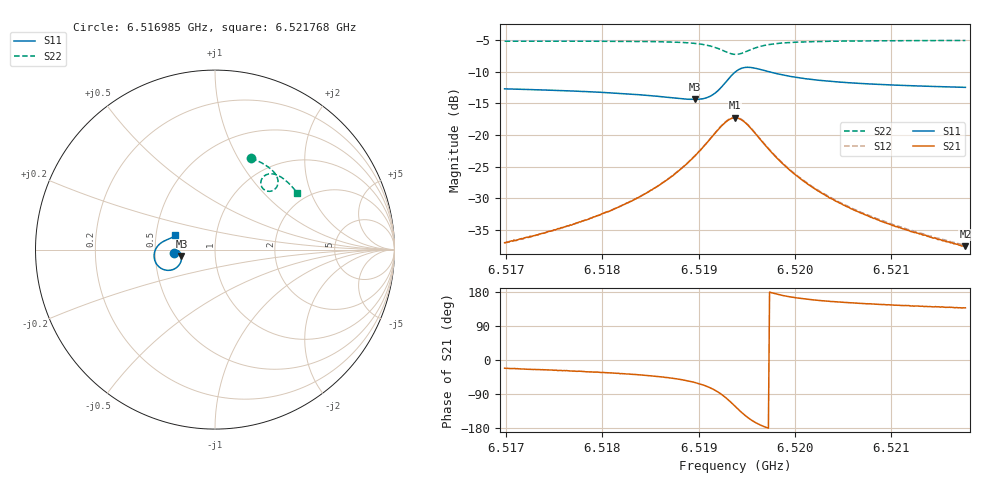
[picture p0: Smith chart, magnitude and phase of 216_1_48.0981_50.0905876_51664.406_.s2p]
#  HZ  S  RI  R  50.00
! Rohde & Schwarz Vector Network Analyzer
! Rohde-Schwarz,ZNB20-2Port,1311601062101988,3.16
! Created: UTC 12/23/2023, 3:56:16 AM
! freq[Hz]  re:S11  im:S11  re:S21  im:S21  re:S12  im:S12  re:S22  im:S22
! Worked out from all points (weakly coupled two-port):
!   401 points, 6.516985 GHz to 6.521768 GHz, reference 50 ohm
!   highest |S21| = -17.29 dB at 6.519376 GHz (marker M1); lowest = -37.5 dB at 6.521768 GHz (marker M2)
!   lowest |S11| = -14.4 dB at 6.518958 GHz (marker M3), VSWR 1.47, Z = 34.2 - j2.52 ohm
!   |S11| at or under -10 dB: start of sweep to 6.519385 GHz; 6.519722 GHz to end of sweep
!   |S22| runs from -7.3 to -5.1 dB; largest |S21 - S12| = 0.0042
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6.5169852e9  -0.2303 -0.0174  0.0131 -0.0052  0.0132 -0.00474  0.2022 0.5098
6.5173917e9  -0.2259 -0.0115  0.0151 -0.00731  0.0154 -0.0068  0.2321 0.4971
6.5177862e9  -0.2202 -0.00678  0.0181 -0.0105  0.0184 -0.00986  0.2614 0.4825
6.5181688e9  -0.213 -0.00475  0.0221 -0.0155  0.0225 -0.0151  0.29 0.465
6.5185873e9  -0.2009 -0.00924  0.0288 -0.0278  0.0298 -0.0269  0.3221 0.4383
6.5187905e9  -0.1932 -0.0186  0.0331 -0.0402  0.0345 -0.0394  0.3378 0.419
6.5189579e9  -0.1871 -0.0355  0.0347 -0.0584  0.0369 -0.0577  0.3487 0.3958
6.5190655e9  -0.187 -0.0547  0.0316 -0.0773  0.0342 -0.0767  0.3513 0.3746
6.5191492e9  -0.1939 -0.0761  0.022 -0.0966  0.0252 -0.0965  0.3465 0.3546
6.5192807e9  -0.236 -0.1118  -0.0209 -0.1247  -0.0174 -0.1265  0.3142 0.3262
6.5193764e9  -0.2932 -0.1083  -0.0721 -0.116  -0.0692 -0.119  0.2747 0.3332
6.5194242e9  -0.3181 -0.09  -0.0922 -0.0972  -0.0901 -0.1007  0.2607 0.349
6.519484e9  -0.3357 -0.0589  -0.1044 -0.0682  -0.1033 -0.072  0.2551 0.3729
6.5195916e9  -0.3351 -0.00891  -0.0985 -0.0257  -0.0986 -0.0287  0.2695 0.4055
6.5196992e9  -0.3188 0.0204  -0.0813 -0.00327  -0.0819 -0.0057  0.2924 0.4195
6.5199264e9  -0.2882 0.0452  -0.053 0.0117  -0.054 0.0103  0.3313 0.42
6.5201775e9  -0.268 0.0547  -0.0362 0.0139  -0.037 0.013  0.36 0.4085
6.5203568e9  -0.2584 0.0584  -0.0289 0.0135  -0.0298 0.013  0.3759 0.3985
6.520584e9  -0.2497 0.0623  -0.0228 0.0127  -0.0236 0.0123  0.393 0.3855
6.5209785e9  -0.2388 0.0679  -0.0164 0.0112  -0.0168 0.011  0.4182 0.3621
6.5213731e9  -0.2306 0.0734  -0.0123 0.01  -0.0128 0.00967  0.4399 0.3383
6.5217676e9  -0.2238 0.0788  -0.0098 0.00894  -0.0102 0.0089  0.4592 0.3137
